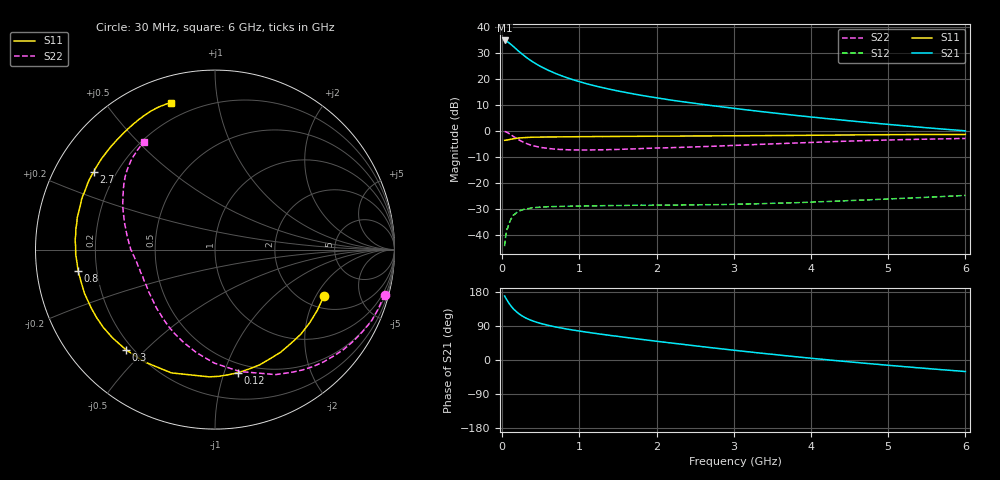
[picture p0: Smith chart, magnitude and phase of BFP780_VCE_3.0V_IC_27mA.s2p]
! Infineon Technologies  Discrete & RF Semiconductors
! BFP780
! VCE =  3.0 V,  IC =  27 mA
! Common Emitter S-Parameters:  Jul 2015
# GHz  S  MA  R  50
!  f  S11  S21  S12  S22
! GHz  MAG  ANG  MAG  ANG  MAG  ANG  MAG  ANG
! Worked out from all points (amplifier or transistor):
!   75 points, 30 MHz to 6 GHz, reference 50 ohm
!   highest |S21| = 34.8 dB at 30 MHz (marker M1)
!   |S21| within 3 dB of that: start of sweep to 169.2 MHz
!   unconditionally stable (mu >= 1): 2.227 GHz to end of sweep
!   at 150 MHz: K = 0.09, MSG = 32.3 dB, |S12| = -32.3 dB
!   at 2.3 GHz: K = 1.03, MAG = 18.9 dB, |S12| = -28.5 dB
!   at 6 GHz: K = 1.36, MAG = 8.8 dB, |S12| = -24.8 dB
!   S11 on the Smith chart (normalised r, x): 30 MHz: 2.54, -2.33; 120 MHz: 0.42, -1.12; 300 MHz: 0.17, -0.44; 800 MHz: 0.13, -0.08; 2.7 GHz: 0.12, +0.29; 6 GHz: 0.12, +0.74
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0.03  0.6591 -23.2  54.88 169.0  0.0061 81.9  0.9776 -14.9
0.05  0.6668 -37.6  53.42 161.6  0.0106 74.9  0.9585 -24.5
0.07  0.6724 -50.9  51.38 155.0  0.0134 69.5  0.9245 -33.5
0.09  0.6811 -63.3  48.98 148.8  0.0167 58.3  0.887 -42.1
0.12  0.6978 -79.4  45.05 140.6  0.021 52.9  0.8295 -53.9
0.15  0.7097 -92.6  41.21 133.7  0.0243 47.1  0.7742 -64.1
0.2  0.7287 -109.5  35.35 124.4  0.0281 40.2  0.6932 -78.5
0.25  0.7388 -122.2  30.63 117.1  0.0301 33.7  0.6325 -90.3
0.3  0.7469 -131.8  26.71 111.3  0.0318 29.5  0.584 -100.1
0.35  0.7536 -139.4  23.59 106.6  0.0324 26.2  0.5471 -108.4
0.4  0.7586 -145.3  21.06 102.7  0.0337 23.7  0.5205 -115.3
0.5  0.7623 -154.6  17.26 96.3  0.0344 19.8  0.4825 -126.5
0.6  0.767 -161.3  14.56 91.2  0.035 17.2  0.4604 -135.2
0.8  0.7717 -171.0  11.03 83.1  0.0356 14.2  0.4377 -147.7
1.1  0.7764 178.9  8.028 73.3  0.0362 11.5  0.4296 -160.1
1.5  0.7838 169.2  5.863 62.3  0.0369 10.4  0.4415 -170.7
2.1  0.795 157.6  4.103 47.0  0.0374 9.8  0.4726 178.3
2.7  0.8025 147.4  3.09 32.7  0.0382 10.5  0.5059 168.2
3.1  0.8101 141.0  2.611 23.6  0.0392 11.6  0.5342 161.5
4.1  0.8277 126.6  1.792 2.7  0.0435 14.1  0.6088 147.1
5.1  0.85 115.1  1.298 -15.7  0.05 13.5  0.6754 134.6
6  0.8556 106.8  1.004 -30.4  0.0577 10.9  0.7184 123.6
